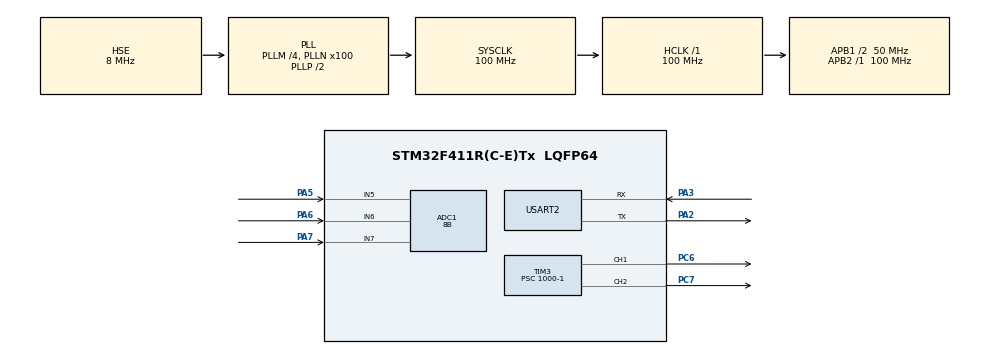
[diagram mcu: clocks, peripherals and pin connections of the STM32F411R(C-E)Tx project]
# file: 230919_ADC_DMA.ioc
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ADC1.Channel-0\#ChannelRegularConversion=ADC_CHANNEL_7
ADC1.Channel-1\#ChannelRegularConversion=ADC_CHANNEL_6
ADC1.Channel-2\#ChannelRegularConversion=ADC_CHANNEL_5
ADC1.ContinuousConvMode=ENABLE
ADC1.DMAContinuousRequests=ENABLE
ADC1.NbrOfConversion=3
ADC1.NbrOfConversionFlag=1
ADC1.Rank-0\#ChannelRegularConversion=1
ADC1.Rank-1\#ChannelRegularConversion=2
ADC1.Rank-2\#ChannelRegularConversion=3
ADC1.Resolution=ADC_RESOLUTION_8B
ADC1.SamplingTime-0\#ChannelRegularConversion=ADC_SAMPLETIME_112CYCLES
ADC1.SamplingTime-1\#ChannelRegularConversion=ADC_SAMPLETIME_112CYCLES
ADC1.SamplingTime-2\#ChannelRegularConversion=ADC_SAMPLETIME_112CYCLES
ADC1.ScanConvMode=ENABLE
ADC1.master=1
Dma.ADC1.0.Direction=DMA_PERIPH_TO_MEMORY
Dma.ADC1.0.FIFOMode=DMA_FIFOMODE_DISABLE
Dma.ADC1.0.Instance=DMA2_Stream0
Dma.ADC1.0.MemDataAlignment=DMA_MDATAALIGN_HALFWORD
Dma.ADC1.0.MemInc=DMA_MINC_ENABLE
Dma.ADC1.0.Mode=DMA_CIRCULAR
Dma.ADC1.0.PeriphDataAlignment=DMA_PDATAALIGN_HALFWORD
Dma.ADC1.0.PeriphInc=DMA_PINC_DISABLE
Dma.ADC1.0.Priority=DMA_PRIORITY_LOW
Dma.Request0=ADC1
Mcu.Family=STM32F4
Mcu.Name=STM32F411R(C-E)Tx
Mcu.Package=LQFP64
NVIC.DMA2_Stream0_IRQn=true\:0\:0\:false\:false\:true\:false\:true\:true
NVIC.PriorityGroup=NVIC_PRIORITYGROUP_4
PA13.Mode=Serial_Wire
PA13.Signal=SYS_JTMS-SWDIO
PA14.Mode=Serial_Wire
PA14.Signal=SYS_JTCK-SWCLK
PA2.Mode=Asynchronous
PA2.Signal=USART2_TX
PA3.Mode=Asynchronous
PA3.Signal=USART2_RX
PA5.Signal=ADCx_IN5
PA6.Signal=ADCx_IN6
PA7.Signal=ADCx_IN7
PC6.Signal=S_TIM3_CH1
PC7.Signal=S_TIM3_CH2
PH0\ -\ OSC_IN.Mode=HSE-External-Oscillator
PH0\ -\ OSC_IN.Signal=RCC_OSC_IN
PH1\ -\ OSC_OUT.Mode=HSE-External-Oscillator
PH1\ -\ OSC_OUT.Signal=RCC_OSC_OUT
ProjectManager.HeapSize=0x200
ProjectManager.StackSize=0x400
ProjectManager.TargetToolchain=STM32CubeIDE
RCC.48MHZClocksFreq_Value=50000000
RCC.AHBFreq_Value=100000000
RCC.APB1CLKDivider=RCC_HCLK_DIV2
RCC.APB1Freq_Value=50000000
RCC.APB1TimFreq_Value=100000000
RCC.APB2Freq_Value=100000000
RCC.APB2TimFreq_Value=100000000
RCC.CortexFreq_Value=100000000
RCC.HCLKFreq_Value=100000000
RCC.HSE_VALUE=8000000
RCC.HSI_VALUE=16000000
RCC.LSE_VALUE=32768
RCC.PLLM=4
RCC.PLLN=100
RCC.PLLSourceVirtual=RCC_PLLSOURCE_HSE
RCC.SYSCLKFreq_VALUE=100000000
RCC.SYSCLKSource=RCC_SYSCLKSOURCE_PLLCLK
RCC.VCOOutputFreq_Value=200000000
SH.ADCx_IN5.0=ADC1_IN5,IN5
SH.ADCx_IN6.0=ADC1_IN6,IN6
SH.ADCx_IN7.0=ADC1_IN7,IN7
SH.S_TIM3_CH1.0=TIM3_CH1,PWM Generation1 CH1
SH.S_TIM3_CH2.0=TIM3_CH2,PWM Generation2 CH2
TIM3.Channel-PWM\ Generation1\ CH1=TIM_CHANNEL_1
TIM3.Channel-PWM\ Generation2\ CH2=TIM_CHANNEL_2
TIM3.Period=1000-1
TIM3.Prescaler=1000-1
USART2.VirtualMode=VM_ASYNC
VP_TIM3_VS_ClockSourceINT.Mode=Internal
board=custom

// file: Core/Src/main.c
/* USER CODE BEGIN Header */
/**
  ******************************************************************************
  * @file           : main.c
  * @brief          : Main program body
  ******************************************************************************
  * @attention
  *
  * Copyright (c) 2023 STMicroelectronics.
  * All rights reserved.
  *
  * This software is licensed under terms that can be found in the LICENSE file
  * in the root directory of this software component.
  * If no LICENSE file comes with this software, it is provided AS-IS.
  *
  ******************************************************************************
  */
/* USER CODE END Header */
#include "main.h"
#include "adc.h"
#include "dma.h"
#include "tim.h"
#include "usart.h"
#include "gpio.h"

/* USER CODE BEGIN Includes */
#include "stdio.h"
/* USER CODE END Includes */

/* USER CODE BEGIN PM */
#ifdef __GNUC__
  /* With GCC, small printf (option LD Linker->Libraries->Small printf
     set to 'Yes') calls __io_putchar() */
  #define PUTCHAR_PROTOTYPE int __io_putchar(int ch)
#else
  #define PUTCHAR_PROTOTYPE int fputc(int ch, FILE *f)
#endif /* __GNUC__ */
PUTCHAR_PROTOTYPE
{
  /* Place your implementation of fputc here */
  /* e.g. write a character to the EVAL_COM1 and Loop until the end of transmission */
  HAL_UART_Transmit(&huart2, (uint8_t *)&ch, 1, 0xFFFF);

  return ch;
}
/* USER CODE END PM */

/* USER CODE BEGIN PV */

uint16_t adcValue[3];

/* USER CODE END PV */

void SystemClock_Config(void);

int main(void)
{

  /* MCU Configuration--------------------------------------------------------*/

  /* Reset of all peripherals, Initializes the Flash interface and the Systick. */
  HAL_Init();

  /* Configure the system clock */
  SystemClock_Config();

  /* Initialize all configured peripherals */
  MX_GPIO_Init();
  MX_DMA_Init();
  MX_ADC1_Init();
  MX_USART2_UART_Init();
  MX_TIM3_Init();
  /* USER CODE BEGIN 2 */

  HAL_ADC_Start_DMA(&hadc1, adcValue, 3);     // adcValue <- uint16_t but 32. 2: count of adcValue
  HAL_TIM_PWM_Start(&htim3, TIM_CHANNEL_1);
  HAL_TIM_PWM_Start(&htim3, TIM_CHANNEL_2);

  /* USER CODE END 2 */

  /* Infinite loop */
  while (1)
  {

    /* USER CODE BEGIN 3 */

    printf("adcValue[0] -> %4d\r\n",adcValue[0]);
    printf("adcValue[1] -> %4d\r\n\n",adcValue[1]);
    printf("adcValue[2] -> %4d\r\n\n",adcValue[2]);
    HAL_Delay(200);
//
//    int ccr1=1000*adcValue[0]/4095;
//    int ccr2=1000*adcValue[1]/4095;
//
//    TIM3->CCR1 = ccr1;
//    TIM3->CCR2 = ccr2;
//    HAL_Delay(5);
  }
  /* USER CODE END 3 */
}

void SystemClock_Config(void)
{
  RCC_OscInitTypeDef RCC_OscInitStruct = {0};
  RCC_ClkInitTypeDef RCC_ClkInitStruct = {0};

  /** Configure the main internal regulator output voltage
  */
  __HAL_RCC_PWR_CLK_ENABLE();
  __HAL_PWR_VOLTAGESCALING_CONFIG(PWR_REGULATOR_VOLTAGE_SCALE1);

  /** Initializes the RCC Oscillators according to the specified parameters
  * in the RCC_OscInitTypeDef structure.
  */
  RCC_OscInitStruct.OscillatorType = RCC_OSCILLATORTYPE_HSE;
  RCC_OscInitStruct.HSEState = RCC_HSE_ON;
  RCC_OscInitStruct.PLL.PLLState = RCC_PLL_ON;
  RCC_OscInitStruct.PLL.PLLSource = RCC_PLLSOURCE_HSE;
  RCC_OscInitStruct.PLL.PLLM = 4;
  RCC_OscInitStruct.PLL.PLLN = 100;
  RCC_OscInitStruct.PLL.PLLP = RCC_PLLP_DIV2;
  RCC_OscInitStruct.PLL.PLLQ = 4;
  if (HAL_RCC_OscConfig(&RCC_OscInitStruct) != HAL_OK)
  {
    Error_Handler();
  }

  /** Initializes the CPU, AHB and APB buses clocks
  */
  RCC_ClkInitStruct.ClockType = RCC_CLOCKTYPE_HCLK|RCC_CLOCKTYPE_SYSCLK
                              |RCC_CLOCKTYPE_PCLK1|RCC_CLOCKTYPE_PCLK2;
  RCC_ClkInitStruct.SYSCLKSource = RCC_SYSCLKSOURCE_PLLCLK;
  RCC_ClkInitStruct.AHBCLKDivider = RCC_SYSCLK_DIV1;
  RCC_ClkInitStruct.APB1CLKDivider = RCC_HCLK_DIV2;
  RCC_ClkInitStruct.APB2CLKDivider = RCC_HCLK_DIV1;

  if (HAL_RCC_ClockConfig(&RCC_ClkInitStruct, FLASH_LATENCY_3) != HAL_OK)
  {
    Error_Handler();
  }
}

void Error_Handler(void)
{
  __disable_irq();
  while (1)
  {
  }
}
